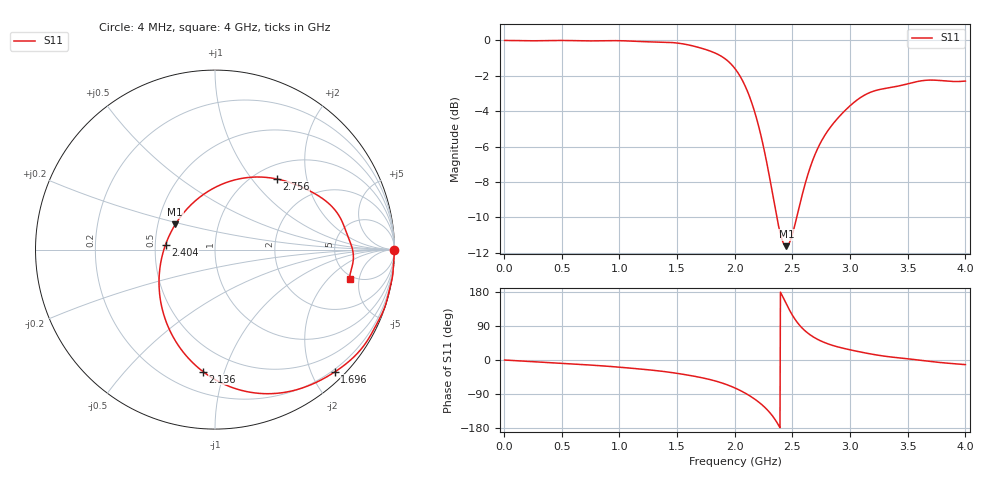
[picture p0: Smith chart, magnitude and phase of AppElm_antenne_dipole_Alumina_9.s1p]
! TOUCHSTONE file generated by CST MICROWAVE STUDIO
! Date and time: Sat May 14 12:01:02 2022
! Project name: AppElm_antenne_dipole_Alumina.cst
! Parameters = {L=33; e=0.035; f=2.45e+09; h=1.6; i=0.8; l1=2; lambda=122.449; ls=34.5; wl=1.7; ws=80}
! Header version: 2018
! Port assignment regex: !\s*Touchstone port\s*([0-9]+)\s*=\s*(CST MWS port|CST DS port)\s*([0-9]+|Zmin|Zmax)\s*\(\"(.*)\"\)(\s*mode\s*([0-9]+))?.*
! Touchstone port assignment:
! Touchstone port 1 = CST MWS port 1 ("")
# GHz S MA R 50
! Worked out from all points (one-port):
!   1000 points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, 4 MHz to 4 GHz, reference 50 ohm
!   lowest |S11| = -11.6 dB at 2.448 GHz (marker M1), VSWR 1.71, Z = 30.8 + j9.27 ohm
!   |S11| at or under -10 dB: 2.365 GHz to 2.538 GHz (173 MHz wide, 7.06 % of centre)
!   S11 on the Smith chart (normalised r, x): 4 MHz: open; 1.696 GHz: 0.16, -2.37; 2.136 GHz: 0.33, -0.85; 2.404 GHz: 0.57, +0.03; 2.756 GHz: 1.24, +1.34; 4 GHz: 4.63, -3.66
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0.004  1 -0.1
0.504  1 -8.7
1.004  0.9984 -19.1
1.32  0.9901 -28.1
1.504  0.983 -35.4
1.696  0.9538 -45.6
1.784  0.934 -51.6
1.86  0.9112 -57.9
1.932  0.8793 -65.2
2.004  0.8306 -74.2
2.072  0.7645 -84.3
2.136  0.6826 -95.7
2.212  0.5637 -112.1
2.276  0.4537 -129.6
2.34  0.3497 -153.0
2.404  0.2771 174.4
2.448  0.2619 147.7
2.504  0.2863 116.1
2.56  0.3392 92.3
2.616  0.3991 75.3
2.68  0.4618 61.1
2.756  0.5224 48.9
2.864  0.5875 37.1
3.004  0.6553 26.6
3.204  0.7188 14.6
3.504  0.7546 3.0
3.68  0.7723 -3.2
4  0.7675 -12.2
